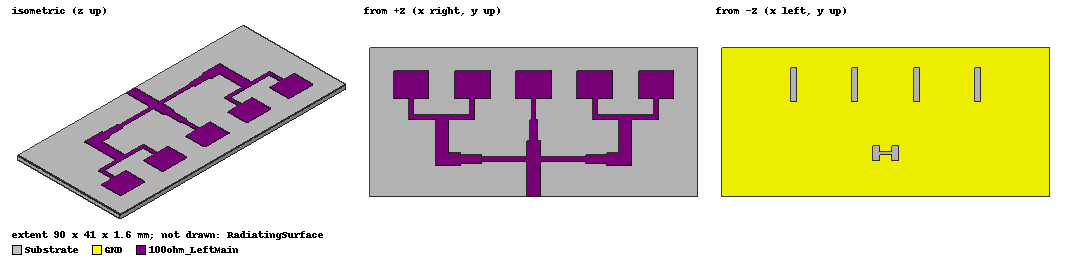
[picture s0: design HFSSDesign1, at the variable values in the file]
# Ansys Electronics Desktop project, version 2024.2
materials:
  vacuum: permittivity=1
  Rogers RT/duroid 5880 (tm): permittivity=2.2 dielectric_loss_tangent=0.0009
  copper: permeability=0.999991 conductivity=58000000
  pec: conductivity=1e+30

design HFSSDesign1 (HFSS, HFSS Modal Network, model units mm)
options: Allow_Material_Override
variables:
  Hs = 1.599791mm
  Ws = 90mm
  Ls = 41mm
  Wp = 9.8071223mm
  Lp = 8.1324mm
  S = 16.812361mm
  W_100 = 1.32978832mm
  W_50 = 3.58391475mm
  W_70 = 2.32559147mm
  QWT_70 = 5.74635304mm
  QWT_50 = 7.0412958mm
  K = 0.357773682mm
  L_50_Main = 15.4841872mm
  L_100_P = 5.61008314mm
  L_50_Left = 9.0515338mm
  dm = 0.5mm
  Wslot = 1.6038mm
  Lslot = 9.20285344mm
  Lhandle = 3.035916mm
  Whandle = 0.99594mm
  L_d = 3.96mm
  W_d = 1.960072mm
  J = 4.26278376mm
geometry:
  Substrate [Rogers RT/duroid 5880 (tm)] = box(corner=(-Ws/2, 0mm, 0mm), size=(Ws, Ls, -Hs))
  Patch1 = rectangle(corner=(-Wp/2-2*S, L_50_Main+QWT_70+L_100_P, 0mm), x_size=Wp, y_size=Lp-K)
  GND = rectangle(corner=(-Ws/2, 0mm, -Hs), x_size=Ws, y_size=Ls)
  Patch2 = rectangle(corner=(-Wp/2-S, L_50_Main+QWT_70+L_100_P, 0mm), x_size=Wp, y_size=Lp-K)
  Patch3 = rectangle(corner=(-Wp/2, L_50_Main+QWT_70+L_100_P, 0mm), x_size=Wp, y_size=Lp-K)
  Patch4 = rectangle(corner=(-Wp/2+S, L_50_Main+QWT_70+L_100_P, 0mm), x_size=Wp, y_size=Lp-K)
  Patch5 = rectangle(corner=(-Wp/2+2*S, L_50_Main+QWT_70+L_100_P, 0mm), x_size=Wp, y_size=Lp-K)
  50ohm_Main = rectangle(corner=(-W_50/2, 0mm, 0mm), x_size=W_50, y_size=L_50_Main)
  100ohm_LeftMain = rectangle(corner=(-W_50/2, L_50_Main+QWT_70-L_50_Left-W_50/2+W_70/2-W_70/2+W_100/2, 0mm), x_size=(-Wp/2-2*S+Wp/2-S)/2+QWT_50+QWT_70, y_size=-W_100)
  100ohm_RightMain = rectangle(corner=(W_50/2, L_50_Main+QWT_70-L_50_Left-W_50/2+W_70/2-W_70/2+W_100/2, 0mm), x_size=(Wp/2+2*S+(-Wp/2)+S)/2-QWT_50-QWT_70, y_size=-W_100)
  50ohm_Left = rectangle(corner=((-Wp/2-2*S+Wp/2-S)/2-W_50/2, L_50_Main+QWT_70, 0mm), x_size=W_50, y_size=-L_50_Left)
  QWT_50_Left = rectangle(corner=((-Wp/2-2*S+Wp/2-S)/2-W_50/2, L_50_Main+QWT_70-L_50_Left, 0mm), x_size=QWT_50, y_size=-W_50)
  100ohm_P1 = rectangle(corner=(-2*S-W_100/2, L_50_Main+QWT_70, 0mm), x_size=W_100, y_size=L_100_P)
  100ohm_P2 = rectangle(corner=(-S-W_100/2, L_50_Main+QWT_70, 0mm), x_size=W_100, y_size=L_100_P)
  QWT_70_LeftMain = rectangle(corner=((-Wp/2-2*S+Wp/2-S)/2-W_50/2+QWT_50, L_50_Main+QWT_70-L_50_Left-W_50/2+W_70/2, 0mm), x_size=QWT_70, y_size=-W_70)
  100ohm_P3 = rectangle(corner=(-W_100/2, L_50_Main+QWT_70, 0mm), x_size=W_100, y_size=L_100_P)
  QWT_70_P3 = rectangle(corner=(-W_70/2, L_50_Main, 0mm), x_size=W_70, y_size=QWT_70)
  100ohm_P4 = rectangle(corner=(S+W_100/2, L_50_Main+QWT_70, 0mm), x_size=-W_100, y_size=L_100_P)
  100ohm_P5 = rectangle(corner=(2*S+W_100/2, L_50_Main+QWT_70, 0mm), x_size=-W_100, y_size=L_100_P)
  50ohm_Right = rectangle(corner=((Wp/2+2*S+(-Wp/2)+S)/2+W_50/2, L_50_Main+QWT_70, 0mm), x_size=-W_50, y_size=-L_50_Left)
  QWT_50_Right = rectangle(corner=((Wp/2+2*S+(-Wp/2)+S)/2+W_50/2, L_50_Main+QWT_70-L_50_Left, 0mm), x_size=-QWT_50, y_size=-W_50)
  QWT_70_RightMain = rectangle(corner=((Wp/2+2*S+(-Wp/2)+S)/2+W_50/2-QWT_50, L_50_Main+QWT_70-L_50_Left-W_50/2+W_70/2, 0mm), x_size=-QWT_70, y_size=-W_70)
  Port = rectangle(corner=(-W_50/2, 0mm, 0mm), z_size=-Hs, x_size=W_50)
  100ohm_P1P2_Left = rectangle(corner=(-2*S+W_100/2, L_50_Main+QWT_70, 0mm), x_size=(2*S-W_100/2-S-W_100/2)/2, y_size=W_100)
  100ohm_P1P2_Right = rectangle(corner=(-2*S+W_100/2+2*S-W_100/2-S-W_100/2, L_50_Main+QWT_70, 0mm), x_size=-(2*S-W_100/2-S-W_100/2)/2, y_size=W_100)
  100ohm_P4P5_Left = rectangle(corner=(2*S-W_100/2-(3*S-W_100/2-2*S-W_100/2), L_50_Main+QWT_70, 0mm), x_size=(3*S-W_100/2-2*S-W_100/2)/2, y_size=W_100)
  100ohm_P4P5_Right = rectangle(corner=(2*S-W_100/2, L_50_Main+QWT_70, 0mm), x_size=-(3*S-W_100/2-2*S-W_100/2)/2, y_size=W_100)
  100ohm_LeftMain.unite(100ohm_P1..100ohm_P5, 100ohm_P1P2_Left, 100ohm_P1P2_Right, 100ohm_P4P5_Left, 100ohm_P4P5_Right, 100ohm_RightMain, 50ohm_Left, 50ohm_Main, 50ohm_Right, Patch1..Patch5, QWT_50_Left, QWT_50_Right, QWT_70_LeftMain, QWT_70_P3, QWT_70_RightMain)
  Slot_1 = rectangle(corner=(2*S-W_100/2-(3*S-W_100/2-2*S-W_100/2)/2-Wslot/2, L_50_Main+QWT_70+L_100_P+Lslot/2+(Lp-k)/2, -Hs), x_size=Wslot, y_size=-Lslot)
  Slot_2 = rectangle(corner=(S-W_100/2-(3*S-W_100/2-2*S-W_100/2)/2-Wslot/2, L_50_Main+QWT_70+L_100_P+Lslot/2+(Lp-k)/2, -Hs), x_size=Wslot, y_size=-Lslot)
  Slot_3 = rectangle(corner=(-(S-W_100/2-(3*S-W_100/2-2*S-W_100/2)/2-Wslot/2), L_50_Main+QWT_70+L_100_P+Lslot/2+(Lp-k)/2, -Hs), x_size=-Wslot, y_size=-Lslot)
  Slot_4 = rectangle(corner=(-(2*S-W_100/2-(3*S-W_100/2-2*S-W_100/2)/2-Wslot/2), L_50_Main+QWT_70+L_100_P+Lslot/2+(Lp-k)/2, -Hs), x_size=-Wslot, y_size=-Lslot)
  GND.subtract(Slot_1..Slot_4)
  handle = rectangle(corner=(-Lhandle/2, L_50_Main/2-Whandle/2+J, -Hs), x_size=Lhandle, y_size=Whandle)
  d_left = rectangle(corner=(-Lhandle/2, L_50_Main/2-L_d/2+J, -Hs), x_size=-W_d, y_size=L_d)
  d_right = rectangle(corner=(Lhandle/2, L_50_Main/2-L_d/2+J, -Hs), x_size=W_d, y_size=L_d)
  GND.subtract(d_left, d_right, handle)
  RadiatingSurface [vacuum] = region(absolute_offset=10mm on all sides)
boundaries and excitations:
  Ground: Perfect E Objects=GND
  PerfE1: Perfect E Objects=100ohm_LeftMain
  Open1: Radiation Objects=RadiatingSurface
  1: Lumped Port Objects=Port LumpedPortType=Modal Modes{Mode1{IntLine{(0, 0, -1.599791) -> (0, 0, 0)} CharImp=Zpi RenormImp=50ohm}} Impedance=50ohm
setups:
  Setup1: HfssDriven Frequency=10GHz MaxDeltaS=0.02 MaximumPasses=20 MinimumPasses=1 MinimumConvergedPasses=1 PercentRefinement=30 BasisOrder=1 PortAccuracy=2 DrivenSolverType="Direct Solver"
    sweep Sweep: 5GHz to 20GHz, 801 points; Type=Discrete SaveFields
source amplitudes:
  1:1: 1W 0deg
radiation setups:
  3D: Infinite Sphere Theta=0deg..180deg step 2deg Phi=-180deg..180deg step 2deg
  Elevation: Infinite Sphere Theta=-180deg..180deg step 1deg Phi=0deg..90deg step 90deg
  Azimuth: Infinite Sphere Theta=90deg..90deg step 0deg Phi=-180deg..180deg step 1deg
  Infinite Sphere1: Infinite Sphere Theta=0deg..360deg step 5deg Phi=0deg..0deg step 0deg
